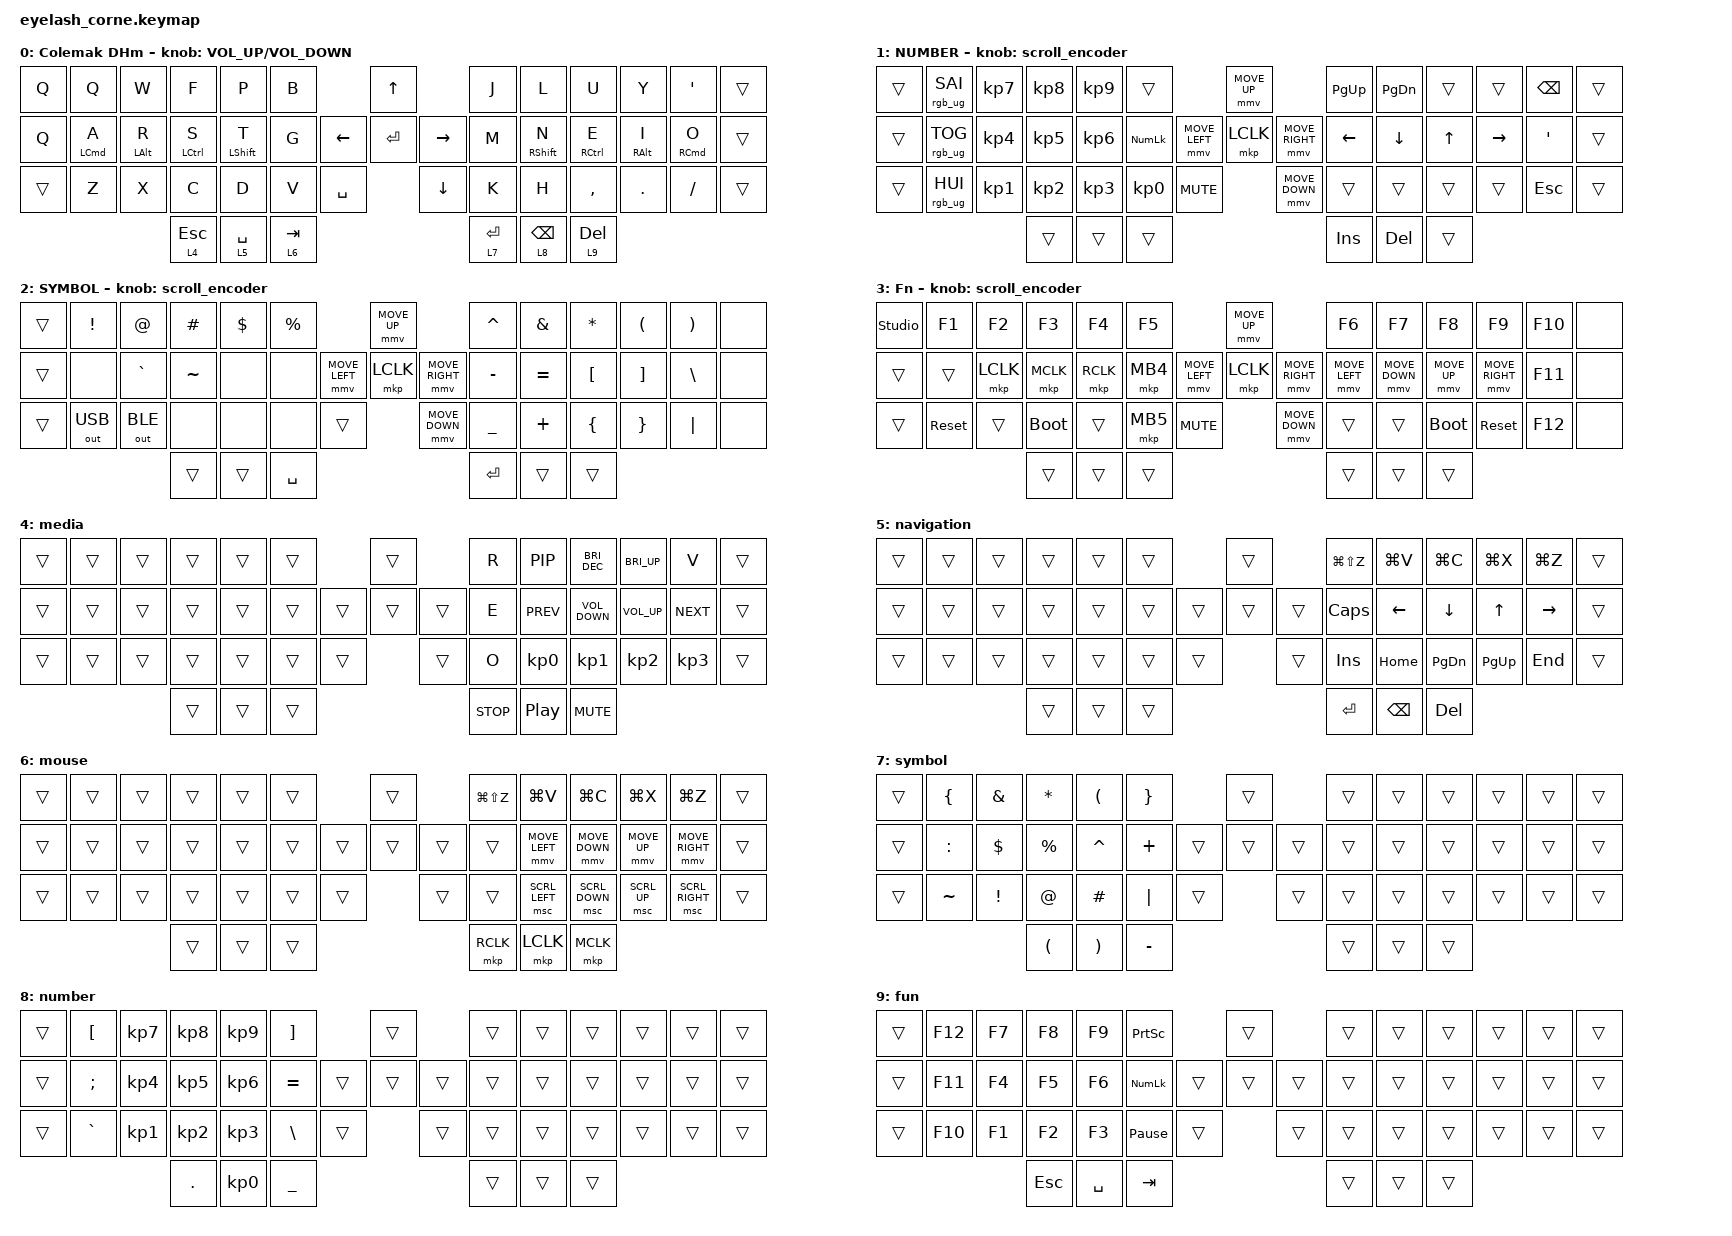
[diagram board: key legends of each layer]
#define ZMK_POINTING_DEFAULT_MOVE_VAL 1200  // 600
#define ZMK_POINTING_DEFAULT_SCRL_VAL 25   // 10

#include <input/processors.dtsi>
#include <zephyr/dt-bindings/input/input-event-codes.h>
#include <behaviors.dtsi>
#include <dt-bindings/zmk/keys.h>
#include <dt-bindings/zmk/outputs.h>
#include <dt-bindings/zmk/pointing.h>
#include <dt-bindings/zmk/rgb.h>

&mmv_input_listener { input-processors = <&zip_xy_scaler 2 1>; };

&msc_input_listener { input-processors = <&zip_scroll_scaler 2 1>; };

&msc {
    acceleration-exponent = <1>;      // 0
    time-to-max-speed-ms = <100>;       // 300
    delay-ms = <0>;                   // 0
};

&mmv {
    time-to-max-speed-ms = <500>;
    acceleration-exponent = <1>;
    trigger-period-ms = <16>;
};

&soft_off { hold-time-ms = <2000>; };

&mt { flavor = "tap-preferred"; };

/ {
    behaviors {
        td0: td0 {
            compatible = "zmk,behavior-tap-dance";
            display-name = "Shift/Caps Lock Tap Dance";
            #binding-cells = <0>;
            bindings = <&kp LEFT_SHIFT>, <&kp CAPS>;
        };
    };

    rgb_encoder: rgb_encoder {
        compatible = "zmk,behavior-sensor-rotate";
        #sensor-binding-cells = <0>;
        bindings = <&rgb_ug RGB_BRI>, <&rgb_ug RGB_BRD>;
    };

    scroll_encoder: scroll_encoder {
        compatible = "zmk,behavior-sensor-rotate";
        #sensor-binding-cells = <0>;
        bindings = <&msc SCRL_DOWN>, <&msc SCRL_UP>;

        tap-ms = <100>;
    };

    combos {
        compatible = "zmk,combos";

        softoff {
            bindings = <&soft_off>;
            key-positions = <1 15 29>;
        };
    };

    keymap {
        compatible = "zmk,keymap";

        default_layer {
            display-name = "Colemak DHm";
            bindings = <
&kp Q   &kp Q               &kp W           &kp F               &kp P             &kp B                             &kp UP                &kp J        &kp L              &kp U                &kp Y            &kp SQT              &trans
&kp Q   &mt LEFT_COMMAND A  &mt LEFT_ALT R  &mt LEFT_CONTROL S  &mt LEFT_SHIFT T  &kp G                   &kp LEFT  &kp ENTER  &kp RIGHT  &kp M        &mt RIGHT_SHIFT N  &mt RIGHT_CONTROL E  &mt RIGHT_ALT I  &mt RIGHT_COMMAND O  &trans
&trans  &kp Z               &kp X           &kp C               &kp D             &kp V      &kp SPACE              &kp DOWN              &kp K        &kp H              &kp COMMA            &kp DOT          &kp FSLH             &trans
                                            &lt 4 ESC           &lt 5 SPACE       &lt 6 TAB                                               &lt 7 ENTER  &lt 8 BACKSPACE    &lt 9 DEL
            >;

            sensor-bindings = <&inc_dec_kp C_VOLUME_UP C_VOLUME_DOWN>;
        };

        lower_layer {
            display-name = "NUMBER";
            bindings = <
&trans  &rgb_ug RGB_SAI  &kp KP_NUMBER_7  &kp KP_NUMBER_8  &kp KP_NUMBER_9  &trans                                         &mmv MOVE_UP                     &kp PAGE_UP  &kp PAGE_DOWN  &trans  &trans     &kp BACKSPACE  &trans
&trans  &rgb_ug RGB_TOG  &kp KP_NUMBER_4  &kp KP_NUMBER_5  &kp KP_NUMBER_6  &kp KP_NUMLOCK                 &mmv MOVE_LEFT  &mkp LCLK       &mmv MOVE_RIGHT  &kp LEFT     &kp DOWN       &kp UP  &kp RIGHT  &kp SQT        &trans
&trans  &rgb_ug RGB_HUI  &kp KP_NUMBER_1  &kp KP_NUMBER_2  &kp KP_NUMBER_3  &kp KP_NUMBER_0  &kp C_MUTE                    &mmv MOVE_DOWN                   &trans       &trans         &trans  &trans     &kp ESC        &trans
                                          &trans           &trans           &trans                                                                          &kp INS      &kp DEL        &trans
            >;

            sensor-bindings = <&scroll_encoder>;
        };

        raise_layer {
            display-name = "SYMBOL";
            bindings = <
&trans  &kp EXCL      &kp AT        &kp HASH   &kp DLLR  &kp PRCNT                            &mmv MOVE_UP                     &kp CARET  &kp AMPS   &kp ASTRK  &kp LPAR  &kp RPAR  &none
&trans  &none         &kp GRAVE     &kp TILDE  &none     &none                &mmv MOVE_LEFT  &mkp LCLK       &mmv MOVE_RIGHT  &kp MINUS  &kp EQUAL  &kp LBKT   &kp RBKT  &kp BSLH  &none
&trans  &out OUT_USB  &out OUT_BLE  &none      &none     &none      &trans                    &mmv MOVE_DOWN                   &kp UNDER  &kp PLUS   &kp LBRC   &kp RBRC  &kp PIPE  &none
                                    &trans     &trans    &kp SPACE                                                             &kp RET    &trans     &trans
            >;

            sensor-bindings = <&scroll_encoder>;
        };

        layer_3 {
            display-name = "Fn";
            bindings = <
&studio_unlock  &kp F1      &kp F2     &kp F3       &kp F4     &kp F5                                  &mmv MOVE_UP                     &kp F6          &kp F7          &kp F8        &kp F9           &kp F10  &none
&trans          &trans      &mkp LCLK  &mkp MCLK    &mkp RCLK  &mkp MB4                &mmv MOVE_LEFT  &mkp LCLK       &mmv MOVE_RIGHT  &mmv MOVE_LEFT  &mmv MOVE_DOWN  &mmv MOVE_UP  &mmv MOVE_RIGHT  &kp F11  &none
&trans          &sys_reset  &trans     &bootloader  &trans     &mkp MB5  &kp C_MUTE                    &mmv MOVE_DOWN                   &trans          &trans          &bootloader   &sys_reset       &kp F12  &none
                                       &trans       &trans     &trans                                                                   &trans          &trans          &trans
            >;

            sensor-bindings = <&scroll_encoder>;
        };

        media {
            bindings = <
&trans  &trans  &trans  &trans  &trans  &trans                    &trans          &kp R       &kp C_PIP         &kp C_BRI_DEC      &kp C_BRI_UP     &kp V            &trans
&trans  &trans  &trans  &trans  &trans  &trans            &trans  &trans  &trans  &kp E       &kp C_PREV        &kp C_VOLUME_DOWN  &kp C_VOLUME_UP  &kp C_NEXT       &trans
&trans  &trans  &trans  &trans  &trans  &trans  &trans            &trans          &kp O       &kp KP_NUMBER_0   &kp KP_NUMBER_1    &kp KP_NUMBER_2  &kp KP_NUMBER_3  &trans
                        &trans  &trans  &trans                                    &kp C_STOP  &kp C_PLAY_PAUSE  &kp C_MUTE
            >;
        };

        navigation {
            bindings = <
&trans  &trans  &trans  &trans  &trans  &trans                    &trans          &kp LG(LS(Z))  &kp LG(V)       &kp LG(C)       &kp LG(X)     &kp LG(Z)        &trans
&trans  &trans  &trans  &trans  &trans  &trans            &trans  &trans  &trans  &kp CAPS       &kp LEFT_ARROW  &kp DOWN_ARROW  &kp UP_ARROW  &kp RIGHT_ARROW  &trans
&trans  &trans  &trans  &trans  &trans  &trans  &trans            &trans          &kp INSERT     &kp HOME        &kp PAGE_DOWN   &kp PAGE_UP   &kp END          &trans
                        &trans  &trans  &trans                                    &kp ENTER      &kp BACKSPACE   &kp DEL
            >;
        };

        mouse {
            bindings = <
&trans  &trans  &trans  &trans  &trans  &trans                    &trans          &kp LG(LS(Z))  &kp LG(V)       &kp LG(C)       &kp LG(X)     &kp LG(Z)        &trans
&trans  &trans  &trans  &trans  &trans  &trans            &trans  &trans  &trans  &trans         &mmv MOVE_LEFT  &mmv MOVE_DOWN  &mmv MOVE_UP  &mmv MOVE_RIGHT  &trans
&trans  &trans  &trans  &trans  &trans  &trans  &trans            &trans          &trans         &msc SCRL_LEFT  &msc SCRL_DOWN  &msc SCRL_UP  &msc SCRL_RIGHT  &trans
                        &trans  &trans  &trans                                    &mkp RCLK      &mkp LCLK       &mkp MCLK
            >;
        };

        symbol {
            bindings = <
&trans  &kp LEFT_BRACE  &kp AMPERSAND    &kp ASTRK             &kp LEFT_PARENTHESIS   &kp RIGHT_BRACE                    &trans          &trans  &trans  &trans  &trans  &trans  &trans
&trans  &kp COLON       &kp DOLLAR       &kp PERCENT           &kp CARET              &kp PLUS                   &trans  &trans  &trans  &trans  &trans  &trans  &trans  &trans  &trans
&trans  &kp TILDE       &kp EXCLAMATION  &kp AT_SIGN           &kp HASH               &kp PIPE         &trans            &trans          &trans  &trans  &trans  &trans  &trans  &trans
                                         &kp LEFT_PARENTHESIS  &kp RIGHT_PARENTHESIS  &kp MINUS                                          &trans  &trans  &trans
            >;
        };

        number {
            bindings = <
&trans  &kp LEFT_BRACKET  &kp KP_NUMBER_7  &kp KP_NUMBER_8  &kp KP_NUMBER_9  &kp RIGHT_BRACKET                    &trans          &trans  &trans  &trans  &trans  &trans  &trans
&trans  &kp SEMICOLON     &kp KP_NUMBER_4  &kp KP_NUMBER_5  &kp KP_NUMBER_6  &kp EQUAL                    &trans  &trans  &trans  &trans  &trans  &trans  &trans  &trans  &trans
&trans  &kp GRAVE         &kp KP_NUMBER_1  &kp KP_NUMBER_2  &kp KP_NUMBER_3  &kp BACKSLASH      &trans            &trans          &trans  &trans  &trans  &trans  &trans  &trans
                                           &kp PERIOD       &kp KP_NUMBER_0  &kp UNDERSCORE                                       &trans  &trans  &trans
            >;
        };

        fun {
            bindings = <
&trans  &kp F12  &kp F7  &kp F8      &kp F9     &kp PRINTSCREEN                    &trans          &trans  &trans  &trans  &trans  &trans  &trans
&trans  &kp F11  &kp F4  &kp F5      &kp F6     &kp KP_NUMLOCK             &trans  &trans  &trans  &trans  &trans  &trans  &trans  &trans  &trans
&trans  &kp F10  &kp F1  &kp F2      &kp F3     &kp PAUSE_BREAK  &trans            &trans          &trans  &trans  &trans  &trans  &trans  &trans
                         &kp ESCAPE  &kp SPACE  &kp TAB                                            &trans  &trans  &trans
            >;
        };
    };
};
